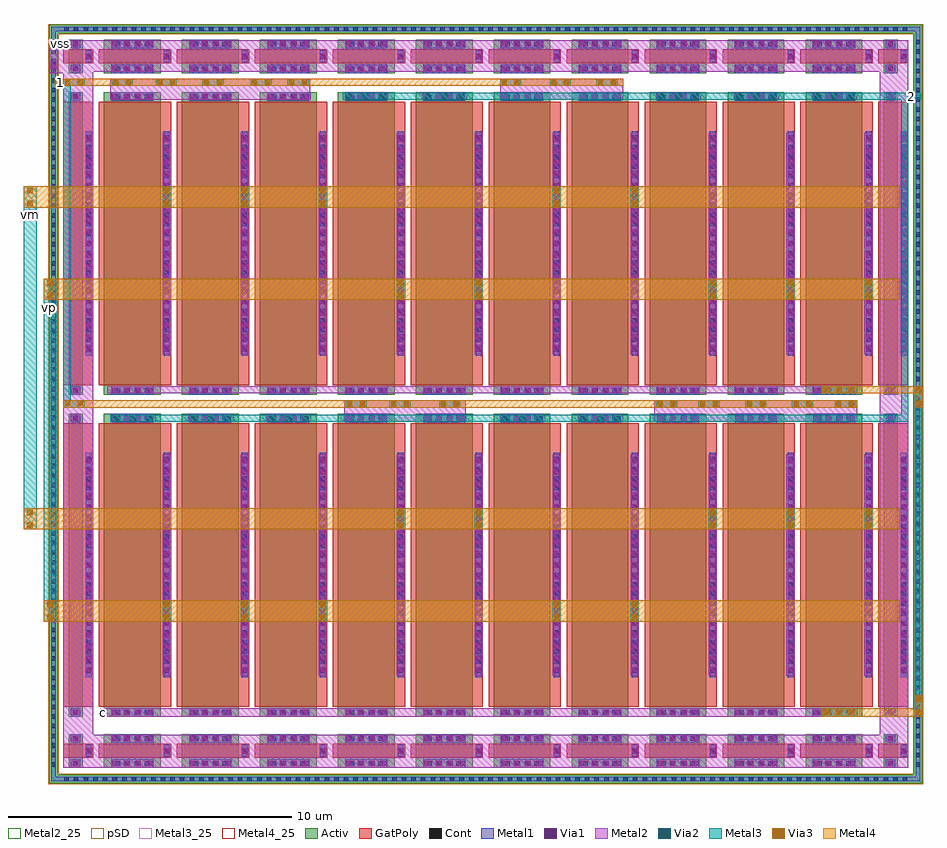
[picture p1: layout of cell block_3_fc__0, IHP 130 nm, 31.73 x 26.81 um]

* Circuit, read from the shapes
.subckt block_3_fc__0 1 2 c vm vp vss
XM1 vss vss vss vss sg13_lv_nmos w=0.5u l=0.5u m=4
XM2 vss vss vss vss sg13_lv_nmos w=0.5u l=10u m=4
XM3 vss vss vss vss sg13_lv_nmos w=2u l=0.5u m=20
XM4 2 vp c vss sg13_lv_nmos w=2u l=10u m=10
XM5 1 vm c vss sg13_lv_nmos w=2u l=10u m=10
.ends

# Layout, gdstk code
from math import pi, radians
import gdstk
lib = gdstk.Library(unit=1e-6, precision=1e-09)
def R(c, l, rs):  # rectangles x0, y0, x1, y1
    for r in rs: c.add(gdstk.rectangle(r[:2], r[2:], *l))
def A(c, l, x, y, w, h, nx, ny, dx, dy):  # array of equal rectangles
    R(c, l, [(x+i*dx, y+j*dy, x+i*dx+w, y+j*dy+h) for i in range(nx) for j in range(ny)])
Activ = (1, 0)
GatPoly = (5, 0)
Cont = (6, 0)
Metal1 = (8, 0)
Metal2 = (10, 0)
Metal2_25 = (10, 25)
pSD = (14, 0)
Via1 = (19, 0)
Via2 = (29, 0)
Metal3 = (30, 0)
Metal3_25 = (30, 25)
Via3 = (49, 0)
Metal4 = (50, 0)
Metal4_25 = (50, 25)

sg13_lv_nmos_6qzvq2__0 = lib.new_cell('sg13_lv_nmos_6QZVQ2__0')
R(sg13_lv_nmos_6qzvq2__0, Activ, [(-0.59,-0.345,0.59,0.155)])
R(sg13_lv_nmos_6qzvq2__0, GatPoly, [(-0.25,-0.525,0.25,0.525)])
R(sg13_lv_nmos_6qzvq2__0, Cont, [(-0.52,-0.175,-0.36,-0.015), (0.36,-0.175,0.52,-0.015), (-0.08,0.295,0.08,0.455)])
R(sg13_lv_nmos_6qzvq2__0, Metal1, [(-0.59,-0.24,-0.29,0.05), (0.29,-0.24,0.59,0.05), (-0.215,0.27,0.215,0.48)])
R(sg13_lv_nmos_6qzvq2__0, Metal2, [(-0.54,-0.28,-0.34,0.09), (0.34,-0.28,0.54,0.09), (-0.11,0.23,0.11,0.52)])
R(sg13_lv_nmos_6qzvq2__0, Via1, [(-0.535,-0.19,-0.345,0), (0.345,-0.19,0.535,0), (-0.095,0.28,0.095,0.47)])
sg13_lv_nmos_6qzvq2__0.add(gdstk.Label('D', (-0.44,-0.095), layer=8, texttype=25))
sg13_lv_nmos_6qzvq2__0.add(gdstk.Label('S', (0.44,-0.095), layer=8, texttype=25))
sg13_lv_nmos_6qzvq2__0.add(gdstk.Label('G', (0,0.375), layer=8, texttype=25))

sg13_lv_nmos_jylxk8__0 = lib.new_cell('sg13_lv_nmos_JYLXK8__0')
R(sg13_lv_nmos_jylxk8__0, Activ, [(-5.34,-1.095,5.34,0.905)])
R(sg13_lv_nmos_jylxk8__0, GatPoly, [(-5,-1.275,5,1.275)])
A(sg13_lv_nmos_jylxk8__0, Cont, -5.27, -0.685, 0.16, 0.16, 1, 4, 0, 0.34)
A(sg13_lv_nmos_jylxk8__0, Cont, 5.11, -0.685, 0.16, 0.16, 1, 4, 0, 0.34)
A(sg13_lv_nmos_jylxk8__0, Cont, -3.82, 1.045, 0.16, 0.16, 23, 1, 0.34, 0)
R(sg13_lv_nmos_jylxk8__0, Metal1, [(-5.34,-0.84,-5.04,0.65), (5.04,-0.84,5.34,0.65), (-3.96,1.02,3.96,1.23)])
R(sg13_lv_nmos_jylxk8__0, Metal2, [(-5.29,-0.88,-5.09,0.69), (5.09,-0.88,5.29,0.69), (-3.91,0.98,3.91,1.27)])
A(sg13_lv_nmos_jylxk8__0, Via1, -5.285, -0.805, 0.19, 0.19, 1, 4, 0, 0.41)
A(sg13_lv_nmos_jylxk8__0, Via1, 5.095, -0.805, 0.19, 0.19, 1, 4, 0, 0.41)
A(sg13_lv_nmos_jylxk8__0, Via1, -3.785, 1.03, 0.19, 0.19, 19, 1, 0.41, 0)
sg13_lv_nmos_jylxk8__0.add(gdstk.Label('D', (-5.19,-0.095), layer=8, texttype=25))
sg13_lv_nmos_jylxk8__0.add(gdstk.Label('S', (5.19,-0.095), layer=8, texttype=25))
sg13_lv_nmos_jylxk8__0.add(gdstk.Label('G', (0,1.125), layer=8, texttype=25))

sg13_lv_nmos_nmnsp2__0 = lib.new_cell('sg13_lv_nmos_NMNSP2__0')
R(sg13_lv_nmos_nmnsp2__0, Activ, [(-0.59,-1.095,0.59,0.905)])
R(sg13_lv_nmos_nmnsp2__0, GatPoly, [(-0.25,-1.275,0.25,1.275)])
A(sg13_lv_nmos_nmnsp2__0, Cont, -0.52, -0.685, 0.16, 0.16, 1, 4, 0, 0.34)
A(sg13_lv_nmos_nmnsp2__0, Cont, 0.36, -0.685, 0.16, 0.16, 1, 4, 0, 0.34)
R(sg13_lv_nmos_nmnsp2__0, Cont, [(-0.08,1.045,0.08,1.205)])
R(sg13_lv_nmos_nmnsp2__0, Metal1, [(-0.59,-0.84,-0.29,0.65), (0.29,-0.84,0.59,0.65), (-0.215,1.02,0.215,1.23)])
R(sg13_lv_nmos_nmnsp2__0, Metal2, [(-0.54,-0.88,-0.34,0.69), (0.34,-0.88,0.54,0.69), (-0.11,0.98,0.11,1.27)])
A(sg13_lv_nmos_nmnsp2__0, Via1, -0.535, -0.805, 0.19, 0.19, 1, 4, 0, 0.41)
A(sg13_lv_nmos_nmnsp2__0, Via1, 0.345, -0.805, 0.19, 0.19, 1, 4, 0, 0.41)
R(sg13_lv_nmos_nmnsp2__0, Via1, [(-0.095,1.03,0.095,1.22)])
sg13_lv_nmos_nmnsp2__0.add(gdstk.Label('D', (-0.44,-0.095), layer=8, texttype=25))
sg13_lv_nmos_nmnsp2__0.add(gdstk.Label('S', (0.44,-0.095), layer=8, texttype=25))
sg13_lv_nmos_nmnsp2__0.add(gdstk.Label('G', (0,1.125), layer=8, texttype=25))

sg13_lv_nmos_ty7sk8__0 = lib.new_cell('sg13_lv_nmos_TY7SK8__0')
R(sg13_lv_nmos_ty7sk8__0, Activ, [(-5.34,-0.345,5.34,0.155)])
R(sg13_lv_nmos_ty7sk8__0, GatPoly, [(-5,-0.525,5,0.525)])
A(sg13_lv_nmos_ty7sk8__0, Cont, -3.82, 0.295, 0.16, 0.16, 23, 1, 0.34, 0)
R(sg13_lv_nmos_ty7sk8__0, Cont, [(-5.27,-0.175,-5.11,-0.015), (5.11,-0.175,5.27,-0.015)])
R(sg13_lv_nmos_ty7sk8__0, Metal1, [(-5.34,-0.24,-5.04,0.05), (5.04,-0.24,5.34,0.05), (-3.96,0.27,3.96,0.48)])
R(sg13_lv_nmos_ty7sk8__0, Metal2, [(-5.29,-0.28,-5.09,0.09), (5.09,-0.28,5.29,0.09), (-3.91,0.23,3.91,0.52)])
A(sg13_lv_nmos_ty7sk8__0, Via1, -3.785, 0.28, 0.19, 0.19, 19, 1, 0.41, 0)
R(sg13_lv_nmos_ty7sk8__0, Via1, [(-5.285,-0.19,-5.095,0), (5.095,-0.19,5.285,0)])
sg13_lv_nmos_ty7sk8__0.add(gdstk.Label('D', (-5.19,-0.095), layer=8, texttype=25))
sg13_lv_nmos_ty7sk8__0.add(gdstk.Label('S', (5.19,-0.095), layer=8, texttype=25))
sg13_lv_nmos_ty7sk8__0.add(gdstk.Label('G', (0,0.375), layer=8, texttype=25))

block_3_fc__0 = lib.new_cell('block_3_fc__0')
R(block_3_fc__0, Activ, [(4.1,-1.2,34.9,-0.9), (4.1,-0.9,4.4,25.25), (34.6,-0.9,34.9,25.25), (4.1,25.25,34.9,25.55)])
A(block_3_fc__0, Cont, 4.63, -1.13, 0.16, 0.16, 88, 2, 0.34, 26.45)
A(block_3_fc__0, Cont, 4.17, -0.63, 0.16, 0.16, 1, 76, 0, 0.34)
A(block_3_fc__0, Cont, 34.67, -0.63, 0.16, 0.16, 1, 76, 0, 0.34)
R(block_3_fc__0, Metal1, [(4.17,-1.13,34.83,-0.97), (4.17,-0.97,4.33,23.85), (34.67,-0.97,34.83,25.32), (4.85,-0.6,5.2,-0.35), (33.6,-0.6,33.95,-0.35), (4.85,0.25,5.2,0.5), (33.6,0.25,33.95,0.5), (4.85,1.2,5.2,1.45), (33.6,1.2,33.95,1.45), (4.85,11.55,5.2,11.8), (33.6,11.55,33.95,11.8), (4.85,12.55,5.2,12.8), (33.6,12.55,33.95,12.8), (4.85,22.9,5.2,23.15), (33.6,22.9,33.95,23.15), (4.1,23.85,4.4,25), (4.85,23.9,5.2,24.15), (33.6,23.9,33.95,24.15), (4.85,24.75,5.2,25), (33.6,24.75,33.95,25), (4.17,25,4.33,25.32), (4.17,25.32,34.83,25.48)])
A(block_3_fc__0, Metal2, 8.1, 4.5, 0.3, 0.75, 3, 2, 2.75, 14.6)
A(block_3_fc__0, Metal2, 27.35, 7.75, 0.3, 0.75, 3, 2, 2.75, 8.1)
A(block_3_fc__0, Metal2, 6.25, 11.55, 1.6, 0.25, 3, 1, 2.75, 0)
A(block_3_fc__0, Metal2, 25.5, 22.9, 1.6, 0.25, 3, 1, 2.75, 0)
R(block_3_fc__0, Metal2, [(4.6,-0.65,34.4,0.5), (4.6,0.5,5.65,23.85), (33.4,0.5,34.4,23.9), (5.9,1.15,32.6,1.45), (21.85,4.5,22.15,5.25), (24.6,4.5,24.9,5.25), (16.35,7.75,16.65,8.5), (19.1,7.75,19.4,8.5), (14.5,11.55,18.8,12.3), (20,11.55,21.6,11.8), (22.75,11.55,24.35,11.8), (25.45,11.55,32.6,12.3), (6.15,12.55,32.6,12.8), (16.35,15.85,16.65,16.6), (19.1,15.85,19.4,16.6), (21.85,19.1,22.15,19.85), (24.6,19.1,24.9,19.85), (6.25,22.9,13.3,23.65), (14.45,22.9,16.05,23.15), (17.25,22.9,18.85,23.15), (20,22.9,24.35,23.65), (4.1,23.85,5.65,23.9), (4.1,23.9,34.4,25)])
R(block_3_fc__0, Metal2_25, [(5.9,1.15,6.15,1.45), (4.4,24.75,4.6,25)])
R(block_3_fc__0, pSD, [(4.07,-1.23,34.93,-0.87), (4.07,-0.87,4.43,25.22), (34.57,-0.87,34.93,25.22), (4.07,25.22,34.93,25.58)])
R(block_3_fc__0, Via1, [(4.155,23.98,4.345,24.17), (4.155,24.68,4.345,24.87)])
A(block_3_fc__0, Via2, 31.405, 1.205, 0.19, 0.19, 3, 2, 0.45, 11.375)
A(block_3_fc__0, Via2, 8.155, 4.555, 0.19, 0.19, 3, 2, 2.75, 0.45)
A(block_3_fc__0, Via2, 27.405, 7.805, 0.19, 0.19, 3, 2, 2.75, 0.45)
A(block_3_fc__0, Via2, 6.355, 11.58, 0.19, 0.19, 3, 1, 0.6, 0)
A(block_3_fc__0, Via2, 9.105, 11.58, 0.19, 0.19, 3, 1, 0.6, 0)
A(block_3_fc__0, Via2, 11.855, 11.58, 0.19, 0.19, 3, 1, 0.6, 0)
A(block_3_fc__0, Via2, 20.105, 11.58, 0.19, 0.19, 3, 1, 0.6, 0)
A(block_3_fc__0, Via2, 22.855, 11.58, 0.19, 0.19, 3, 1, 0.6, 0)
A(block_3_fc__0, Via2, 27.405, 15.905, 0.19, 0.19, 3, 2, 2.75, 0.45)
A(block_3_fc__0, Via2, 8.155, 19.155, 0.19, 0.19, 3, 2, 2.75, 0.45)
A(block_3_fc__0, Via2, 14.555, 22.93, 0.19, 0.19, 3, 1, 0.6, 0)
A(block_3_fc__0, Via2, 17.355, 22.93, 0.19, 0.19, 3, 1, 0.6, 0)
A(block_3_fc__0, Via2, 25.605, 22.93, 0.19, 0.19, 3, 1, 0.6, 0)
A(block_3_fc__0, Via2, 28.355, 22.93, 0.19, 0.19, 3, 1, 0.6, 0)
A(block_3_fc__0, Via2, 31.105, 22.93, 0.19, 0.19, 3, 1, 0.6, 0)
R(block_3_fc__0, Via2, [(21.905,4.555,22.095,4.745), (24.655,4.555,24.845,4.745), (21.905,5.005,22.095,5.195), (24.655,5.005,24.845,5.195), (16.405,7.805,16.595,7.995), (19.155,7.805,19.345,7.995), (16.405,8.255,16.595,8.445), (19.155,8.255,19.345,8.445), (14.605,12.08,14.795,12.27), (15.055,12.08,15.245,12.27), (16.155,12.08,16.345,12.27), (16.605,12.08,16.795,12.27), (17.905,12.08,18.095,12.27), (18.355,12.08,18.545,12.27), (25.555,12.08,25.745,12.27), (26.005,12.08,26.195,12.27), (27.055,12.08,27.245,12.27), (27.505,12.08,27.695,12.27), (28.705,12.08,28.895,12.27), (29.155,12.08,29.345,12.27), (30.355,12.08,30.545,12.27), (30.805,12.08,30.995,12.27), (31.855,12.08,32.045,12.27), (32.305,12.08,32.495,12.27), (16.405,15.905,16.595,16.095), (19.155,15.905,19.345,16.095), (16.405,16.355,16.595,16.545), (19.155,16.355,19.345,16.545), (21.905,19.155,22.095,19.345), (24.655,19.155,24.845,19.345), (21.905,19.605,22.095,19.795), (24.655,19.605,24.845,19.795), (6.355,23.43,6.545,23.62), (6.805,23.43,6.995,23.62), (7.905,23.43,8.095,23.62), (8.355,23.43,8.545,23.62), (9.555,23.43,9.745,23.62), (10.005,23.43,10.195,23.62), (11.255,23.43,11.445,23.62), (11.705,23.43,11.895,23.62), (12.555,23.43,12.745,23.62), (13.005,23.43,13.195,23.62), (20.055,23.43,20.245,23.62), (20.505,23.43,20.695,23.62), (21.805,23.43,21.995,23.62), (22.255,23.43,22.445,23.62), (23.455,23.43,23.645,23.62), (23.905,23.43,24.095,23.62)])
A(block_3_fc__0, Metal3, 8.1, 4.5, 0.3, 0.75, 3, 2, 2.75, 14.6)
A(block_3_fc__0, Metal3, 27.35, 7.75, 0.3, 0.75, 3, 2, 2.75, 8.1)
A(block_3_fc__0, Metal3, 27, 12.05, 0.75, 0.25, 3, 1, 1.65, 0)
R(block_3_fc__0, Metal3, [(31.35,1.15,32.6,1.45), (34.65,1.15,34.9,12.8), (3.9,4.5,4.35,16.6), (21.85,4.5,22.15,5.25), (24.6,4.5,24.9,5.25), (3.2,7.75,3.65,19.85), (16.35,7.75,16.65,8.5), (19.1,7.75,19.4,8.5), (6.25,11.55,34.4,11.8), (34.15,11.8,34.4,22.9), (4.6,12.05,5.3,12.1), (14.55,12.05,15.3,12.3), (16.1,12.05,16.85,12.3), (17.85,12.05,18.6,12.3), (25.5,12.05,26.25,12.3), (31.8,12.05,32.55,12.3), (4.6,12.1,5.35,12.3), (4.6,12.3,4.85,23.4), (31.35,12.55,32.6,12.8), (16.35,15.85,16.65,16.6), (19.1,15.85,19.4,16.6), (21.85,19.1,22.15,19.85), (24.6,19.1,24.9,19.85), (14.45,22.9,34.85,23.15), (4.6,23.4,5.35,23.65), (6.3,23.4,7.05,23.65), (7.85,23.4,8.6,23.65), (9.5,23.4,10.25,23.65), (11.2,23.4,11.95,23.65), (12.5,23.4,13.25,23.65), (20,23.4,20.75,23.65), (21.75,23.4,22.5,23.65), (23.4,23.4,24.15,23.65)])
R(block_3_fc__0, Metal3_25, [(3.9,15.4,4.35,15.75), (3.2,18.7,3.65,19.05), (34.4,22.9,34.6,23.15)])
A(block_3_fc__0, Via3, 31.405, 1.205, 0.19, 0.19, 3, 2, 0.45, 11.375)
A(block_3_fc__0, Via3, 8.155, 4.555, 0.19, 0.19, 3, 2, 2.75, 0.45)
A(block_3_fc__0, Via3, 27.405, 7.805, 0.19, 0.19, 3, 2, 2.75, 0.45)
A(block_3_fc__0, Via3, 27.405, 15.905, 0.19, 0.19, 3, 2, 2.75, 0.45)
A(block_3_fc__0, Via3, 8.155, 19.155, 0.19, 0.19, 3, 2, 2.75, 0.45)
R(block_3_fc__0, Via3, [(34.68,1.205,34.87,1.395), (34.68,1.655,34.87,1.845), (4.03,4.555,4.22,4.745), (21.905,4.555,22.095,4.745), (24.655,4.555,24.845,4.745), (4.03,5.005,4.22,5.195), (21.905,5.005,22.095,5.195), (24.655,5.005,24.845,5.195), (3.33,7.805,3.52,7.995), (16.405,7.805,16.595,7.995), (19.155,7.805,19.345,7.995), (3.33,8.255,3.52,8.445), (16.405,8.255,16.595,8.445), (19.155,8.255,19.345,8.445), (14.605,12.08,14.795,12.27), (15.055,12.08,15.245,12.27), (16.155,12.08,16.345,12.27), (16.605,12.08,16.795,12.27), (17.905,12.08,18.095,12.27), (18.355,12.08,18.545,12.27), (25.555,12.08,25.745,12.27), (26.005,12.08,26.195,12.27), (27.055,12.08,27.245,12.27), (27.505,12.08,27.695,12.27), (28.705,12.08,28.895,12.27), (29.155,12.08,29.345,12.27), (30.355,12.08,30.545,12.27), (30.805,12.08,30.995,12.27), (31.855,12.08,32.045,12.27), (32.305,12.08,32.495,12.27), (4.655,12.105,4.845,12.295), (5.105,12.105,5.295,12.295), (34.68,12.105,34.87,12.295), (34.68,12.555,34.87,12.745), (4.03,15.905,4.22,16.095), (16.405,15.905,16.595,16.095), (19.155,15.905,19.345,16.095), (4.03,16.355,4.22,16.545), (16.405,16.355,16.595,16.545), (19.155,16.355,19.345,16.545), (3.33,19.155,3.52,19.345), (21.905,19.155,22.095,19.345), (24.655,19.155,24.845,19.345), (3.33,19.605,3.52,19.795), (21.905,19.605,22.095,19.795), (24.655,19.605,24.845,19.795), (4.655,23.43,4.845,23.62), (5.105,23.43,5.295,23.62), (6.355,23.43,6.545,23.62), (6.805,23.43,6.995,23.62), (7.905,23.43,8.095,23.62), (8.355,23.43,8.545,23.62), (9.555,23.43,9.745,23.62), (10.005,23.43,10.195,23.62), (11.255,23.43,11.445,23.62), (11.705,23.43,11.895,23.62), (12.555,23.43,12.745,23.62), (13.005,23.43,13.195,23.62), (20.055,23.43,20.245,23.62), (20.505,23.43,20.695,23.62), (21.805,23.43,21.995,23.62), (22.255,23.43,22.445,23.62), (23.455,23.43,23.645,23.62), (23.905,23.43,24.095,23.62)])
R(block_3_fc__0, Metal4, [(31.35,1.15,34.9,1.45), (34.65,1.45,34.9,1.9), (3.9,4.5,34.1,5.25), (3.2,7.75,34.1,8.5), (4.6,12.05,32.6,12.3), (34.65,12.05,34.9,12.55), (31.35,12.55,34.9,12.8), (3.9,15.85,34.1,16.6), (3.2,19.1,34.1,19.85), (4.3,23.4,24.35,23.65)])
R(block_3_fc__0, Metal4_25, [(4.4,23.4,4.6,23.65)])
block_3_fc__0.add(gdstk.Reference(sg13_lv_nmos_6qzvq2__0, (5.125,-0.06), rotation=3*pi/2))
block_3_fc__0.add(gdstk.Reference(sg13_lv_nmos_jylxk8__0, (7.125,6.49), rotation=3*pi/2))
block_3_fc__0.add(gdstk.Reference(sg13_lv_nmos_nmnsp2__0, (7.125,-0.06), rotation=3*pi/2))
block_3_fc__0.add(gdstk.Reference(sg13_lv_nmos_ty7sk8__0, (5.125,6.49), rotation=3*pi/2))
block_3_fc__0.add(gdstk.Reference(sg13_lv_nmos_jylxk8__0, (9.875,6.49), rotation=3*pi/2))
block_3_fc__0.add(gdstk.Reference(sg13_lv_nmos_nmnsp2__0, (9.875,-0.06), rotation=3*pi/2))
block_3_fc__0.add(gdstk.Reference(sg13_lv_nmos_jylxk8__0, (12.625,6.49), rotation=3*pi/2))
block_3_fc__0.add(gdstk.Reference(sg13_lv_nmos_nmnsp2__0, (12.625,-0.06), rotation=3*pi/2))
block_3_fc__0.add(gdstk.Reference(sg13_lv_nmos_jylxk8__0, (15.375,6.49), rotation=3*pi/2))
block_3_fc__0.add(gdstk.Reference(sg13_lv_nmos_nmnsp2__0, (15.375,-0.06), rotation=3*pi/2))
block_3_fc__0.add(gdstk.Reference(sg13_lv_nmos_jylxk8__0, (18.125,6.49), rotation=3*pi/2))
block_3_fc__0.add(gdstk.Reference(sg13_lv_nmos_nmnsp2__0, (18.125,-0.06), rotation=3*pi/2))
block_3_fc__0.add(gdstk.Reference(sg13_lv_nmos_jylxk8__0, (20.875,6.49), rotation=3*pi/2))
block_3_fc__0.add(gdstk.Reference(sg13_lv_nmos_nmnsp2__0, (20.875,-0.06), rotation=3*pi/2))
block_3_fc__0.add(gdstk.Reference(sg13_lv_nmos_jylxk8__0, (23.625,6.49), rotation=3*pi/2))
block_3_fc__0.add(gdstk.Reference(sg13_lv_nmos_nmnsp2__0, (23.625,-0.06), rotation=3*pi/2))
block_3_fc__0.add(gdstk.Reference(sg13_lv_nmos_jylxk8__0, (26.375,6.49), rotation=3*pi/2))
block_3_fc__0.add(gdstk.Reference(sg13_lv_nmos_nmnsp2__0, (26.375,-0.06), rotation=3*pi/2))
block_3_fc__0.add(gdstk.Reference(sg13_lv_nmos_jylxk8__0, (29.125,6.49), rotation=3*pi/2))
block_3_fc__0.add(gdstk.Reference(sg13_lv_nmos_nmnsp2__0, (29.125,-0.06), rotation=3*pi/2))
block_3_fc__0.add(gdstk.Reference(sg13_lv_nmos_jylxk8__0, (31.875,6.49), rotation=3*pi/2))
block_3_fc__0.add(gdstk.Reference(sg13_lv_nmos_nmnsp2__0, (31.875,-0.06), rotation=3*pi/2))
block_3_fc__0.add(gdstk.Reference(sg13_lv_nmos_6qzvq2__0, (33.875,-0.06), rotation=3*pi/2))
block_3_fc__0.add(gdstk.Reference(sg13_lv_nmos_ty7sk8__0, (33.875,6.49), rotation=3*pi/2))
block_3_fc__0.add(gdstk.Reference(sg13_lv_nmos_jylxk8__0, (7.125,17.84), rotation=3*pi/2))
block_3_fc__0.add(gdstk.Reference(sg13_lv_nmos_ty7sk8__0, (5.125,17.84), rotation=3*pi/2))
block_3_fc__0.add(gdstk.Reference(sg13_lv_nmos_jylxk8__0, (9.875,17.84), rotation=3*pi/2))
block_3_fc__0.add(gdstk.Reference(sg13_lv_nmos_jylxk8__0, (12.625,17.84), rotation=3*pi/2))
block_3_fc__0.add(gdstk.Reference(sg13_lv_nmos_jylxk8__0, (15.375,17.84), rotation=3*pi/2))
block_3_fc__0.add(gdstk.Reference(sg13_lv_nmos_jylxk8__0, (18.125,17.84), rotation=3*pi/2))
block_3_fc__0.add(gdstk.Reference(sg13_lv_nmos_jylxk8__0, (20.875,17.84), rotation=3*pi/2))
block_3_fc__0.add(gdstk.Reference(sg13_lv_nmos_jylxk8__0, (23.625,17.84), rotation=3*pi/2))
block_3_fc__0.add(gdstk.Reference(sg13_lv_nmos_jylxk8__0, (26.375,17.84), rotation=3*pi/2))
block_3_fc__0.add(gdstk.Reference(sg13_lv_nmos_jylxk8__0, (29.125,17.84), rotation=3*pi/2))
block_3_fc__0.add(gdstk.Reference(sg13_lv_nmos_jylxk8__0, (31.875,17.84), rotation=3*pi/2))
block_3_fc__0.add(gdstk.Reference(sg13_lv_nmos_ty7sk8__0, (33.875,17.84), rotation=3*pi/2))
block_3_fc__0.add(gdstk.Reference(sg13_lv_nmos_6qzvq2__0, (5.125,24.44), rotation=3*pi/2))
block_3_fc__0.add(gdstk.Reference(sg13_lv_nmos_nmnsp2__0, (7.125,24.44), rotation=3*pi/2))
block_3_fc__0.add(gdstk.Reference(sg13_lv_nmos_nmnsp2__0, (9.875,24.44), rotation=3*pi/2))
block_3_fc__0.add(gdstk.Reference(sg13_lv_nmos_nmnsp2__0, (12.625,24.44), rotation=3*pi/2))
block_3_fc__0.add(gdstk.Reference(sg13_lv_nmos_nmnsp2__0, (15.375,24.44), rotation=3*pi/2))
block_3_fc__0.add(gdstk.Reference(sg13_lv_nmos_nmnsp2__0, (18.125,24.44), rotation=3*pi/2))
block_3_fc__0.add(gdstk.Reference(sg13_lv_nmos_nmnsp2__0, (20.875,24.44), rotation=3*pi/2))
block_3_fc__0.add(gdstk.Reference(sg13_lv_nmos_nmnsp2__0, (23.625,24.44), rotation=3*pi/2))
block_3_fc__0.add(gdstk.Reference(sg13_lv_nmos_nmnsp2__0, (26.375,24.44), rotation=3*pi/2))
block_3_fc__0.add(gdstk.Reference(sg13_lv_nmos_nmnsp2__0, (29.125,24.44), rotation=3*pi/2))
block_3_fc__0.add(gdstk.Reference(sg13_lv_nmos_nmnsp2__0, (31.875,24.44), rotation=3*pi/2))
block_3_fc__0.add(gdstk.Reference(sg13_lv_nmos_6qzvq2__0, (33.875,24.44), rotation=3*pi/2))
block_3_fc__0.add(gdstk.Label('1', (4.5,23.525), layer=50, texttype=25))
block_3_fc__0.add(gdstk.Label('2', (34.5,23.025), layer=30, texttype=25))
block_3_fc__0.add(gdstk.Label('c', (6.025,1.3), layer=10, texttype=25))
block_3_fc__0.add(gdstk.Label('vm', (3.425,18.875), layer=30, texttype=25))
block_3_fc__0.add(gdstk.Label('vp', (4.125,15.575), layer=30, texttype=25))
block_3_fc__0.add(gdstk.Label('vss', (4.5,24.875), layer=10, texttype=25))

lib.write_gds('block_3_fc__0.gds')
